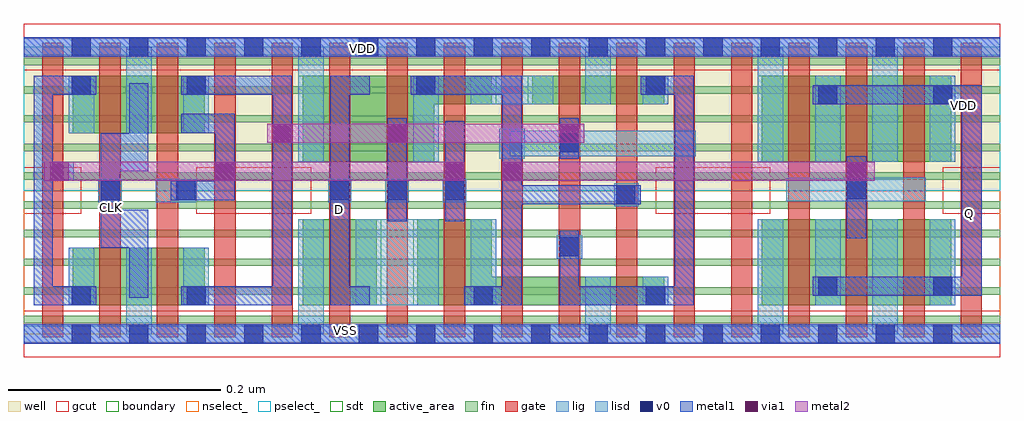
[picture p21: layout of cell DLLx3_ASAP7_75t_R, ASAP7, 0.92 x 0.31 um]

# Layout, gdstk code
import gdstk
lib = gdstk.Library(unit=1e-6, precision=1e-09)
def R(c, l, rs):  # rectangles x0, y0, x1, y1
    for r in rs: c.add(gdstk.rectangle(r[:2], r[2:], *l))
def A(c, l, x, y, w, h, nx, ny, dx, dy):  # array of equal rectangles
    R(c, l, [(x+i*dx, y+j*dy, x+i*dx+w, y+j*dy+h) for i in range(nx) for j in range(ny)])
def P(c, l, *ps):  # polygons
    for p in ps: c.add(gdstk.Polygon(p, *l))
well = (1, 0)
fin = (2, 0)
gate = (7, 0)
gcut = (10, 0)
active_area = (11, 0)
nselect_ = (12, 0)
pselect_ = (13, 0)
lig = (16, 0)
lisd = (17, 0)
v0 = (18, 0)
metal1 = (19, 0)
metal2 = (20, 0)
via1 = (21, 0)
sdt = (88, 0)
boundary = (100, 0)

dllx3_asap7_75t_r = lib.new_cell('DLLx3_ASAP7_75t_R')
R(dllx3_asap7_75t_r, well, [(0,0.135,0.918,0.27)])
A(dllx3_asap7_75t_r, fin, 0, 0.01, 0.918, 0.007, 1, 10, 0, 0.027)
A(dllx3_asap7_75t_r, gate, 0.017, -0.003, 0.02, 0.277, 17, 1, 0.054, 0)
R(dllx3_asap7_75t_r, gcut, [(0,-0.022,0.918,0.022), (0,0.113,0.054,0.157), (0.162,0.113,0.27,0.157), (0.594,0.113,0.702,0.157), (0.864,0.113,0.918,0.157), (0,0.248,0.918,0.292)])
R(dllx3_asap7_75t_r, active_area, [(0.046,0.027,0.17,0.081), (0.262,0.027,0.332,0.108), (0.694,0.027,0.872,0.108), (0.694,0.162,0.872,0.243), (0.046,0.189,0.17,0.243), (0.478,0.216,0.602,0.243)])
P(dllx3_asap7_75t_r, active_area, [(0.37,0.027),(0.37,0.108),(0.44,0.108),(0.44,0.054),(0.602,0.054),(0.602,0.027)],
  [(0.262,0.162),(0.262,0.243),(0.44,0.243),(0.44,0.216),(0.386,0.216),(0.386,0.162)])
R(dllx3_asap7_75t_r, nselect_, [(0,0,0.918,0.135)])
R(dllx3_asap7_75t_r, pselect_, [(0,0.135,0.918,0.27)])
A(dllx3_asap7_75t_r, lig, 0.286, 0.124, 0.022, 0.022, 3, 1, 0.054, 0)
R(dllx3_asap7_75t_r, lig, [(0,-0.008,0.918,0.008), (0.501,0.071,0.525,0.093), (0.555,0.12,0.578,0.142), (0.07,0.124,0.092,0.146), (0.124,0.124,0.162,0.146), (0.717,0.125,0.848,0.147), (0.447,0.165,0.471,0.193), (0,0.262,0.918,0.278)])
R(dllx3_asap7_75t_r, lisd, [(0.096,0,0.12,0.081), (0.258,0,0.282,0.108), (0.528,0,0.552,0.054), (0.69,0,0.714,0.108), (0.798,0,0.822,0.108), (0.042,0.027,0.066,0.081), (0.15,0.027,0.174,0.081), (0.312,0.027,0.39,0.108), (0.42,0.027,0.444,0.108), (0.582,0.027,0.606,0.054), (0.744,0.027,0.768,0.108), (0.852,0.027,0.876,0.108), (0.258,0.162,0.282,0.27), (0.366,0.162,0.39,0.243), (0.69,0.162,0.714,0.27), (0.744,0.162,0.768,0.243), (0.798,0.162,0.822,0.27), (0.852,0.162,0.876,0.243), (0.457,0.167,0.632,0.191), (0.042,0.189,0.066,0.243), (0.096,0.189,0.12,0.27), (0.15,0.189,0.174,0.243), (0.42,0.216,0.498,0.243), (0.528,0.216,0.552,0.27), (0.582,0.216,0.606,0.243)])
A(dllx3_asap7_75t_r, v0, 0.045, -0.009, 0.018, 0.018, 16, 2, 0.054, 0.27)
A(dllx3_asap7_75t_r, v0, 0.288, 0.126, 0.018, 0.018, 3, 1, 0.054, 0)
A(dllx3_asap7_75t_r, v0, 0.153, 0.225, 0.018, 0.018, 3, 1, 0.216, 0)
R(dllx3_asap7_75t_r, v0, [(0.045,0.027,0.063,0.045), (0.153,0.027,0.171,0.045), (0.423,0.027,0.441,0.045), (0.585,0.027,0.603,0.045), (0.747,0.036,0.765,0.054), (0.855,0.036,0.873,0.054), (0.504,0.073,0.522,0.091), (0.557,0.122,0.575,0.14), (0.072,0.126,0.09,0.144), (0.143,0.126,0.161,0.144), (0.774,0.127,0.792,0.145), (0.504,0.171,0.522,0.189), (0.747,0.216,0.765,0.234), (0.855,0.216,0.873,0.234), (0.045,0.225,0.063,0.243)])
R(dllx3_asap7_75t_r, metal1, [(0,-0.009,0.918,0.009), (0.774,0.09,0.792,0.167), (0.342,0.106,0.36,0.203), (0.396,0.106,0.414,0.2), (0.504,0.165,0.522,0.203), (0,0.261,0.918,0.279)])
P(dllx3_asap7_75t_r, metal1, [(0.742,0.036),(0.742,0.054),(0.882,0.054),(0.882,0.216),(0.742,0.216),(0.742,0.234),(0.901,0.234),(0.901,0.036)],
  [(0.504,0.027),(0.504,0.097),(0.522,0.097),(0.522,0.045),(0.612,0.045),(0.612,0.225),(0.58,0.225),(0.58,0.243),(0.63,0.243),(0.63,0.027)],
  [(0.414,0.027),(0.414,0.045),(0.45,0.045),(0.45,0.225),(0.364,0.225),(0.364,0.243),(0.468,0.243),(0.468,0.14),(0.58,0.14),(0.58,0.122),(0.468,0.122),(0.468,0.027)],
  [(0.288,0.027),(0.288,0.243),(0.325,0.243),(0.325,0.225),(0.306,0.225),(0.306,0.045),(0.325,0.045),(0.325,0.027)],
  [(0.148,0.027),(0.148,0.045),(0.234,0.045),(0.234,0.225),(0.148,0.225),(0.148,0.243),(0.252,0.243),(0.252,0.027)],
  [(0.138,0.126),(0.138,0.144),(0.18,0.144),(0.18,0.189),(0.148,0.189),(0.148,0.207),(0.198,0.207),(0.198,0.126)],
  [(0.099,0.034),(0.099,0.081),(0.072,0.081),(0.072,0.189),(0.099,0.189),(0.099,0.236),(0.117,0.236),(0.117,0.153),(0.09,0.153),(0.09,0.117),(0.117,0.117),(0.117,0.034)],
  [(0.009,0.027),(0.009,0.243),(0.068,0.243),(0.068,0.225),(0.027,0.225),(0.027,0.162),(0.047,0.162),(0.047,0.144),(0.027,0.144),(0.027,0.045),(0.068,0.045),(0.068,0.027)])
R(dllx3_asap7_75t_r, metal2, [(0.019,0.144,0.414,0.162), (0.45,0.144,0.8,0.162), (0.229,0.18,0.527,0.198)])
R(dllx3_asap7_75t_r, via1, [(0.024,0.144,0.042,0.162), (0.18,0.144,0.198,0.162), (0.396,0.144,0.414,0.162), (0.45,0.144,0.468,0.162), (0.774,0.144,0.792,0.162), (0.234,0.18,0.252,0.198), (0.342,0.18,0.36,0.198), (0.504,0.18,0.522,0.198)])
A(dllx3_asap7_75t_r, sdt, 0.042, 0.027, 0.024, 0.054, 3, 2, 0.054, 0.162)
A(dllx3_asap7_75t_r, sdt, 0.258, 0.027, 0.024, 0.081, 4, 1, 0.054, 0)
A(dllx3_asap7_75t_r, sdt, 0.69, 0.027, 0.024, 0.081, 4, 2, 0.054, 0.135)
A(dllx3_asap7_75t_r, sdt, 0.42, 0.216, 0.024, 0.027, 4, 1, 0.054, 0)
R(dllx3_asap7_75t_r, sdt, [(0.528,0.027,0.552,0.054), (0.582,0.027,0.606,0.054), (0.258,0.162,0.282,0.243), (0.366,0.162,0.39,0.243)])
R(dllx3_asap7_75t_r, boundary, [(0,0,0.918,0.27)])
dllx3_asap7_75t_r.add(gdstk.Label('Q', (0.889,0.113), layer=19, texttype=251))
dllx3_asap7_75t_r.add(gdstk.Label('VSS', (0.302,0.003), layer=19, texttype=251))
dllx3_asap7_75t_r.add(gdstk.Label('VDD', (0.318,0.269), layer=19, texttype=251))
dllx3_asap7_75t_r.add(gdstk.Label('CLK', (0.082,0.119), layer=19, texttype=251))
dllx3_asap7_75t_r.add(gdstk.Label('D', (0.297,0.117), layer=19, texttype=251))
dllx3_asap7_75t_r.add(gdstk.Label('VDD', (0.884,0.215), layer=1, texttype=251))
dllx3_asap7_75t_r.add(gdstk.Label('VSS', (0.953,0.214), layer=3, texttype=251))

lib.write_gds('DLLx3_ASAP7_75t_R.gds')
